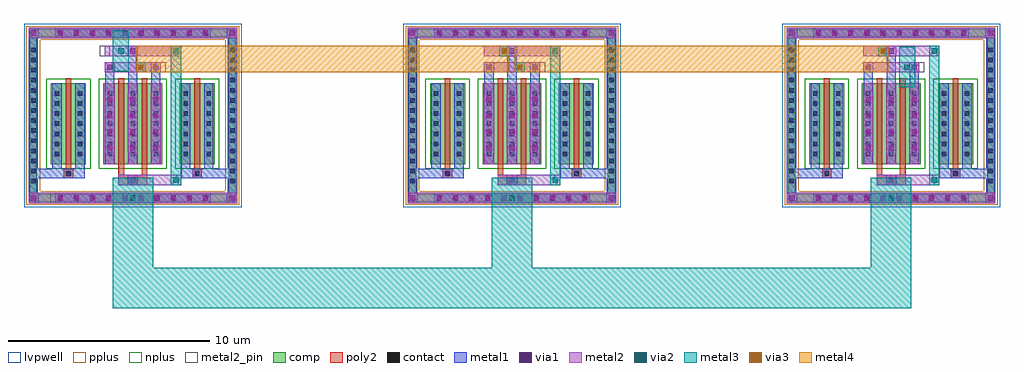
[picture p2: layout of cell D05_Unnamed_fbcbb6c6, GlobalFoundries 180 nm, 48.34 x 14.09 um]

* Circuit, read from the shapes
.subckt D05_Unnamed_fbcbb6c6 VSS
XM1 VSS VSS VSS VSS nfet_03v3 w=4u l=0.28u m=6
XM2 D05_Unnamed_ca71196c_12/VRECT D05_Unnamed_ca71196c_12/VRECT D05_Unnamed_b1a1378a_13/N1 VSS nfet_03v3 w=4u l=0.28u m=2
XM3 D05_Unnamed_b1a1378a_13/N1 D05_Unnamed_b1a1378a_13/N1 D05_Unnamed_c9d8e9c4_14/N2 VSS nfet_03v3 w=4u l=0.28u m=2
XM4 D05_Unnamed_c9d8e9c4_14/N2 D05_Unnamed_c9d8e9c4_14/N2 D05_Unnamed_fbd77fd4_15/VOUT VSS nfet_03v3 w=4u l=0.28u m=2
.ends

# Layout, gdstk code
import gdstk
lib = gdstk.Library(unit=1e-6, precision=5e-09)
def R(c, l, rs):  # rectangles x0, y0, x1, y1
    for r in rs: c.add(gdstk.rectangle(r[:2], r[2:], *l))
def A(c, l, x, y, w, h, nx, ny, dx, dy):  # array of equal rectangles
    R(c, l, [(x+i*dx, y+j*dy, x+i*dx+w, y+j*dy+h) for i in range(nx) for j in range(ny)])
def P(c, l, *ps):  # polygons
    for p in ps: c.add(gdstk.Polygon(p, *l))
comp = (22, 0)
poly2 = (30, 0)
pplus = (31, 0)
nplus = (32, 0)
contact = (33, 0)
metal1 = (34, 0)
via1 = (35, 0)
metal2 = (36, 0)
metal2_pin = (36, 10)
via2 = (38, 0)
via3 = (40, 0)
metal3 = (42, 0)
metal4 = (46, 0)
lvpwell = (204, 0)

d05_unnamed_d11e9c6c = lib.new_cell('D05_Unnamed_d11e9c6c')
A(d05_unnamed_d11e9c6c, comp, -3.78, -4.265, 0.36, 0.36, 10, 2, 0.8, 8.17)
A(d05_unnamed_d11e9c6c, comp, -5.11, -3.43, 0.36, 0.36, 1, 14, 0, 0.5)
A(d05_unnamed_d11e9c6c, comp, 4.75, -3.43, 0.36, 0.36, 1, 14, 0, 0.5)
R(d05_unnamed_d11e9c6c, comp, [(-3.78,-4.265,3.78,-3.905), (-5.11,-3.43,-4.75,3.43), (4.75,-3.43,5.11,3.43), (-4.06,-2.405,-2.32,1.595), (-1.46,-2.405,1.46,1.595), (2.32,-2.405,4.06,1.595), (-3.78,3.905,3.78,4.265)])
P(d05_unnamed_d11e9c6c, comp, [(-5.11,-4.265),(-5.11,-3.905),(-4.75,-3.905),(4.75,-3.905),(4.75,3.905),(-4.75,3.905),(-4.75,-3.905),(-5.11,-3.905),(-5.11,4.265),(5.11,4.265),(5.11,-4.265)])
R(d05_unnamed_d11e9c6c, poly2, [(-0.71,-3.445,0.71,-2.945), (-0.18,-3.375,0.18,-3.015), (-3.42,-3.105,-2.96,-2.645), (2.96,-3.105,3.42,-2.645), (-3.37,-3.055,-3.01,-2.695), (3.01,-3.055,3.37,-2.695), (-0.71,-2.945,-0.43,-2.645), (0.43,-2.945,0.71,-2.645), (-3.33,-2.645,-3.05,1.835), (-0.71,-2.645,-0.43,1.835), (0.43,-2.645,0.71,1.835), (3.05,-2.645,3.33,1.835)])
P(d05_unnamed_d11e9c6c, pplus, [(-5.27,-4.425),(-5.27,-3.745),(-4.59,-3.745),(4.59,-3.745),(4.59,3.745),(-4.59,3.745),(-4.59,-3.745),(-5.27,-3.745),(-5.27,4.425),(5.27,4.425),(5.27,-4.425)])
R(d05_unnamed_d11e9c6c, nplus, [(-4.29,-2.635,-2.09,1.825), (-1.69,-2.635,1.69,1.825), (2.09,-2.635,4.29,1.825)])
A(d05_unnamed_d11e9c6c, contact, -3.71, -4.195, 0.22, 0.22, 10, 2, 0.8, 8.17)
A(d05_unnamed_d11e9c6c, contact, -5.04, -3.36, 0.22, 0.22, 1, 14, 0, 0.5)
A(d05_unnamed_d11e9c6c, contact, 4.82, -3.36, 0.22, 0.22, 1, 14, 0, 0.5)
A(d05_unnamed_d11e9c6c, contact, -3.87, -2.015, 0.22, 0.22, 1, 7, 0, 0.5)
A(d05_unnamed_d11e9c6c, contact, -2.73, -2.015, 0.22, 0.22, 1, 7, 0, 0.5)
A(d05_unnamed_d11e9c6c, contact, -1.25, -2.015, 0.22, 0.22, 3, 7, 1.14, 0.5)
A(d05_unnamed_d11e9c6c, contact, 2.51, -2.015, 0.22, 0.22, 1, 7, 0, 0.5)
A(d05_unnamed_d11e9c6c, contact, 3.65, -2.015, 0.22, 0.22, 1, 7, 0, 0.5)
R(d05_unnamed_d11e9c6c, contact, [(-0.11,-3.305,0.11,-3.085), (-3.3,-2.985,-3.08,-2.765), (3.08,-2.985,3.3,-2.765)])
A(d05_unnamed_d11e9c6c, metal1, -3.85, -4.335, 0.5, 0.5, 10, 2, 0.8, 8.17)
A(d05_unnamed_d11e9c6c, metal1, -5.16, -3.48, 0.46, 0.46, 1, 14, 0, 0.5)
A(d05_unnamed_d11e9c6c, metal1, 4.7, -3.48, 0.46, 0.46, 1, 14, 0, 0.5)
A(d05_unnamed_d11e9c6c, metal1, -1.37, -2.405, 0.46, 4, 3, 1, 1.14, 0)
A(d05_unnamed_d11e9c6c, metal1, -3.99, -2.135, 0.46, 0.46, 1, 7, 0, 0.5)
A(d05_unnamed_d11e9c6c, metal1, -2.85, -2.135, 0.46, 0.46, 1, 7, 0, 0.5)
A(d05_unnamed_d11e9c6c, metal1, -1.37, -2.135, 0.46, 0.46, 3, 7, 1.14, 0.5)
A(d05_unnamed_d11e9c6c, metal1, 2.39, -2.135, 0.46, 0.46, 1, 7, 0, 0.5)
A(d05_unnamed_d11e9c6c, metal1, 3.53, -2.135, 0.46, 0.46, 1, 7, 0, 0.5)
A(d05_unnamed_d11e9c6c, metal1, -1.39, -1.855, 0.5, 0.5, 3, 4, 1.14, 0.8)
A(d05_unnamed_d11e9c6c, metal1, -1.39, -1.855, 0.5, 2.9, 3, 1, 1.14, 0)
R(d05_unnamed_d11e9c6c, metal1, [(-5.16,-4.335,-4.66,-3.835), (-5.16,-4.335,-4.66,-3.835), (-5.16,-4.335,-4.7,-3.905), (-3.85,-4.335,3.85,-3.835), (4.66,-4.335,5.16,-3.835), (4.66,-4.335,5.16,-3.835), (4.7,-4.335,5.16,-3.905), (-5.16,-3.905,-4.7,3.905), (4.7,-3.905,5.16,3.905), (-0.25,-3.445,0.25,-2.945), (-5.16,-3.105,-3.42,-2.645), (-3.99,-3.105,-3.53,-2.405), (-3.99,-3.105,-3.42,-2.645), (-3.42,-3.105,-2.96,-2.645), (-2.96,-3.105,-2.39,-2.645), (-2.85,-3.105,-2.39,-2.405), (2.39,-3.105,2.85,-2.405), (2.39,-3.105,2.96,-2.645), (2.96,-3.105,3.42,-2.645), (2.96,-3.105,5.16,-2.645), (3.42,-3.105,3.99,-2.645), (3.53,-3.105,3.99,-2.405), (-3.99,-2.405,-3.53,1.595), (-2.85,-2.405,-2.39,1.595), (2.39,-2.405,2.85,1.595), (3.53,-2.405,3.99,1.595), (-1.37,1.595,-0.91,2.645), (-0.23,1.595,0.23,3.445), (0.91,1.595,1.37,2.645), (-1.39,2.145,-0.89,2.645), (0.89,2.145,1.39,2.645), (-0.25,2.945,0.25,3.445), (-5.16,3.835,-4.66,4.335), (-5.16,3.835,-4.66,4.335), (-3.85,3.835,3.85,4.335), (4.66,3.835,5.16,4.335), (4.66,3.835,5.16,4.335), (-5.16,3.905,-4.7,4.335), (4.7,3.905,5.16,4.335)])
A(d05_unnamed_d11e9c6c, via1, -3.73, -4.215, 0.26, 0.26, 10, 2, 0.8, 8.17)
A(d05_unnamed_d11e9c6c, via1, -1.27, -1.735, 0.26, 0.26, 3, 4, 1.14, 0.8)
R(d05_unnamed_d11e9c6c, via1, [(-5.04,-4.215,-4.78,-3.955), (4.78,-4.215,5.04,-3.955), (-0.13,-3.325,0.13,-3.065), (-1.27,2.265,-1.01,2.525), (1.01,2.265,1.27,2.525), (-0.13,3.065,0.13,3.325), (-5.04,3.955,-4.78,4.215), (4.78,3.955,5.04,4.215)])
A(d05_unnamed_d11e9c6c, metal2, -3.85, -4.335, 0.5, 0.5, 10, 2, 0.8, 8.17)
A(d05_unnamed_d11e9c6c, metal2, -1.39, -2.405, 0.5, 4, 3, 1, 1.14, 0)
A(d05_unnamed_d11e9c6c, metal2, -1.39, -1.855, 0.5, 0.5, 3, 4, 1.14, 0.8)
R(d05_unnamed_d11e9c6c, metal2, [(-5.16,-4.335,-4.66,-3.835), (-5.16,-4.335,-4.66,-3.835), (-5.16,-4.335,-4.75,-3.835), (-4.75,-4.335,4.75,-3.835), (4.66,-4.335,5.16,-3.835), (4.66,-4.335,5.16,-3.835), (4.75,-4.335,5.16,-3.835), (-0.71,-3.445,0.71,-2.945), (-0.25,-3.445,0.25,-2.945), (-1.39,2.145,-0.89,2.645), (-1.39,2.145,1.39,2.645), (0.89,2.145,1.39,2.645), (-1.39,2.945,1.39,3.445), (-0.25,2.945,0.25,3.445), (-5.16,3.835,-4.66,4.335), (-5.16,3.835,-4.66,4.335), (-5.16,3.835,-4.75,4.335), (-4.75,3.835,4.75,4.335), (4.66,3.835,5.16,4.335), (4.66,3.835,5.16,4.335), (4.75,3.835,5.16,4.335)])
R(d05_unnamed_d11e9c6c, lvpwell, [(-5.39,-4.545,5.39,4.545)])

d05_c_route_8140c5f0_1 = lib.new_cell('D05_c_route_8140c5f0_1')
R(d05_c_route_8140c5f0_1, metal2, [(0.71,-3.445,2.39,-2.945), (1.89,-3.445,2.39,-2.945), (1.39,2.945,2.39,3.445), (1.89,2.945,2.39,3.445)])
R(d05_c_route_8140c5f0_1, via2, [(2.01,-3.325,2.27,-3.065), (2.01,3.065,2.27,3.325)])
R(d05_c_route_8140c5f0_1, metal3, [(1.89,-3.445,2.39,-2.945), (1.89,-3.445,2.39,-2.945), (1.89,-3.445,2.39,3.445), (1.89,2.945,2.39,3.445), (1.89,2.945,2.39,3.445)])
P(d05_c_route_8140c5f0_1, metal3, [(2.39,-3.445),(2.39,-2.945),(2.39,-2.945),(2.39,-3.445)],
  [(2.39,2.945),(2.39,3.445),(2.39,3.445),(2.39,2.945)])

d05_unnamed_cb62c56e = lib.new_cell('D05_Unnamed_cb62c56e')
d05_unnamed_cb62c56e.add(gdstk.Reference(d05_unnamed_d11e9c6c, (0,0)))
d05_unnamed_cb62c56e.add(gdstk.Reference(d05_c_route_8140c5f0_1, (0,0)))

d05_via_stack_256ad2e2_9 = lib.new_cell('D05_via_stack_256ad2e2_9')
R(d05_via_stack_256ad2e2_9, metal2, [(-0.25,-0.25,0.25,0.25)])
R(d05_via_stack_256ad2e2_9, via2, [(-0.13,-0.13,0.13,0.13)])
R(d05_via_stack_256ad2e2_9, via3, [(-0.13,-0.13,0.13,0.13)])
R(d05_via_stack_256ad2e2_9, metal3, [(-0.25,-0.25,0.25,0.25)])
R(d05_via_stack_256ad2e2_9, metal4, [(-0.25,-0.25,0.25,0.25)])

d05_via_stack_256ad2e2_1 = lib.new_cell('D05_via_stack_256ad2e2_10')
R(d05_via_stack_256ad2e2_1, metal2, [(-0.25,-0.25,0.25,0.25)])
R(d05_via_stack_256ad2e2_1, via2, [(-0.13,-0.13,0.13,0.13)])
R(d05_via_stack_256ad2e2_1, via3, [(-0.13,-0.13,0.13,0.13)])
R(d05_via_stack_256ad2e2_1, metal3, [(-0.25,-0.25,0.25,0.25)])
R(d05_via_stack_256ad2e2_1, metal4, [(-0.25,-0.25,0.25,0.25)])

c_d05_via_stack_256ad2e2_1 = lib.new_cell('D05_via_stack_256ad2e2_11')
R(c_d05_via_stack_256ad2e2_1, metal2, [(-0.25,-0.25,0.25,0.25)])
R(c_d05_via_stack_256ad2e2_1, via2, [(-0.13,-0.13,0.13,0.13)])
R(c_d05_via_stack_256ad2e2_1, via3, [(-0.13,-0.13,0.13,0.13)])
R(c_d05_via_stack_256ad2e2_1, metal3, [(-0.25,-0.25,0.25,0.25)])
R(c_d05_via_stack_256ad2e2_1, metal4, [(-0.25,-0.25,0.25,0.25)])

c_d05_via_stack_256ad2e2_1_ = lib.new_cell('D05_via_stack_256ad2e2_12')
R(c_d05_via_stack_256ad2e2_1_, metal2, [(-0.25,-0.25,0.25,0.25)])
R(c_d05_via_stack_256ad2e2_1_, via2, [(-0.13,-0.13,0.13,0.13)])
R(c_d05_via_stack_256ad2e2_1_, via3, [(-0.13,-0.13,0.13,0.13)])
R(c_d05_via_stack_256ad2e2_1_, metal3, [(-0.25,-0.25,0.25,0.25)])
R(c_d05_via_stack_256ad2e2_1_, metal4, [(-0.25,-0.25,0.25,0.25)])

d05_via_stack_c2d496bb_6 = lib.new_cell('D05_via_stack_c2d496bb_64')
R(d05_via_stack_c2d496bb_6, metal2, [(-0.25,-0.25,0.25,0.25)])
R(d05_via_stack_c2d496bb_6, via2, [(-0.13,-0.13,0.13,0.13)])
R(d05_via_stack_c2d496bb_6, metal3, [(-0.25,-0.25,0.25,0.25)])

c_d05_via_stack_c2d496bb_6 = lib.new_cell('D05_via_stack_c2d496bb_65')
R(c_d05_via_stack_c2d496bb_6, metal2, [(-0.25,-0.25,0.25,0.25)])
R(c_d05_via_stack_c2d496bb_6, via2, [(-0.13,-0.13,0.13,0.13)])
R(c_d05_via_stack_c2d496bb_6, metal3, [(-0.25,-0.25,0.25,0.25)])

c_d05_via_stack_c2d496bb_6_ = lib.new_cell('D05_via_stack_c2d496bb_66')
R(c_d05_via_stack_c2d496bb_6_, metal2, [(-0.25,-0.25,0.25,0.25)])
R(c_d05_via_stack_c2d496bb_6_, via2, [(-0.13,-0.13,0.13,0.13)])
R(c_d05_via_stack_c2d496bb_6_, metal3, [(-0.25,-0.25,0.25,0.25)])

c_d05_via_stack_c2d496bb_6__ = lib.new_cell('D05_via_stack_c2d496bb_67')
R(c_d05_via_stack_c2d496bb_6__, metal2, [(-0.25,-0.25,0.25,0.25)])
R(c_d05_via_stack_c2d496bb_6__, via2, [(-0.13,-0.13,0.13,0.13)])
R(c_d05_via_stack_c2d496bb_6__, metal3, [(-0.25,-0.25,0.25,0.25)])

c_d05_via_stack_c2d496bb_6___ = lib.new_cell('D05_via_stack_c2d496bb_68')
R(c_d05_via_stack_c2d496bb_6___, metal2, [(-0.25,-0.25,0.25,0.25)])
R(c_d05_via_stack_c2d496bb_6___, via2, [(-0.13,-0.13,0.13,0.13)])
R(c_d05_via_stack_c2d496bb_6___, metal3, [(-0.25,-0.25,0.25,0.25)])

d05_compass_df8d0505_7 = lib.new_cell('D05_compass_df8d0505_7')
R(d05_compass_df8d0505_7, metal2_pin, [(-0.25,-0.25,0.25,0.25)])

d05_unnamed_ca71196c = lib.new_cell('D05_Unnamed_ca71196c')
d05_unnamed_ca71196c.add(gdstk.Reference(d05_compass_df8d0505_7, (0,0)))
d05_unnamed_ca71196c.add(gdstk.Label('VRECT', (0,0), layer=36, texttype=10))

d05_compass_df8d0505_8 = lib.new_cell('D05_compass_df8d0505_8')
R(d05_compass_df8d0505_8, metal2_pin, [(-0.25,-0.25,0.25,0.25)])

d05_unnamed_b1a1378a = lib.new_cell('D05_Unnamed_b1a1378a')
d05_unnamed_b1a1378a.add(gdstk.Reference(d05_compass_df8d0505_8, (0,0)))
d05_unnamed_b1a1378a.add(gdstk.Label('N1', (0,0), layer=36, texttype=10))

d05_compass_df8d0505_9 = lib.new_cell('D05_compass_df8d0505_9')
R(d05_compass_df8d0505_9, metal2_pin, [(-0.25,-0.25,0.25,0.25)])

d05_unnamed_c9d8e9c4 = lib.new_cell('D05_Unnamed_c9d8e9c4')
d05_unnamed_c9d8e9c4.add(gdstk.Reference(d05_compass_df8d0505_9, (0,0)))
d05_unnamed_c9d8e9c4.add(gdstk.Label('N2', (0,0), layer=36, texttype=10))

d05_compass_df8d0505_10 = lib.new_cell('D05_compass_df8d0505_10')
R(d05_compass_df8d0505_10, metal2_pin, [(-0.25,-0.25,0.25,0.25)])

d05_unnamed_fbd77fd4 = lib.new_cell('D05_Unnamed_fbd77fd4')
d05_unnamed_fbd77fd4.add(gdstk.Reference(d05_compass_df8d0505_10, (0,0)))
d05_unnamed_fbd77fd4.add(gdstk.Label('VOUT', (0,0), layer=36, texttype=10))

d05_compass_df8d0505_11 = lib.new_cell('D05_compass_df8d0505_11')
R(d05_compass_df8d0505_11, metal2_pin, [(-0.25,-0.25,0.25,0.25)])

d05_unnamed_97defd3e = lib.new_cell('D05_Unnamed_97defd3e')
d05_unnamed_97defd3e.add(gdstk.Reference(d05_compass_df8d0505_11, (0,0)))
d05_unnamed_97defd3e.add(gdstk.Label('VSS', (0,0), layer=36, texttype=10))

d05_unnamed_fbcbb6c6 = lib.new_cell('D05_Unnamed_fbcbb6c6')
A(d05_unnamed_fbcbb6c6, metal3, -1, -9.545, 2, 6.46, 3, 1, 18.78, 0)
R(d05_unnamed_fbcbb6c6, metal3, [(-1,-9.545,38.56,-7.545), (37.95,1.395,38.75,3.395), (-0.99,2.195,-0.19,4.195)])
R(d05_unnamed_fbcbb6c6, metal4, [(0.14,2.145,18.64,3.445), (18.92,2.145,37.42,3.445)])
d05_unnamed_fbcbb6c6.add(gdstk.Reference(d05_unnamed_cb62c56e, (0,0)))
d05_unnamed_fbcbb6c6.add(gdstk.Reference(d05_unnamed_cb62c56e, (18.78,0)))
d05_unnamed_fbcbb6c6.add(gdstk.Reference(d05_unnamed_cb62c56e, (37.56,0)))
d05_unnamed_fbcbb6c6.add(gdstk.Reference(d05_via_stack_256ad2e2_9, (0.39,2.395)))
d05_unnamed_fbcbb6c6.add(gdstk.Reference(d05_via_stack_256ad2e2_1, (18.39,3.195)))
d05_unnamed_fbcbb6c6.add(gdstk.Reference(c_d05_via_stack_256ad2e2_1, (19.17,2.395)))
d05_unnamed_fbcbb6c6.add(gdstk.Reference(c_d05_via_stack_256ad2e2_1_, (37.17,3.195)))
d05_unnamed_fbcbb6c6.add(gdstk.Reference(d05_via_stack_c2d496bb_6, (0,-4.085)))
d05_unnamed_fbcbb6c6.add(gdstk.Reference(c_d05_via_stack_c2d496bb_6, (18.78,-4.085)))
d05_unnamed_fbcbb6c6.add(gdstk.Reference(c_d05_via_stack_c2d496bb_6_, (37.56,-4.085)))
d05_unnamed_fbcbb6c6.add(gdstk.Reference(c_d05_via_stack_c2d496bb_6__, (-0.59,3.195)))
d05_unnamed_fbcbb6c6.add(gdstk.Reference(c_d05_via_stack_c2d496bb_6___, (38.35,2.395)))
d05_unnamed_fbcbb6c6.add(gdstk.Reference(d05_unnamed_ca71196c, (-1.39,3.195)))
d05_unnamed_fbcbb6c6.add(gdstk.Reference(d05_unnamed_b1a1378a, (1.39,2.395)))
d05_unnamed_fbcbb6c6.add(gdstk.Reference(d05_unnamed_c9d8e9c4, (20.17,2.395)))
d05_unnamed_fbcbb6c6.add(gdstk.Reference(d05_unnamed_fbd77fd4, (38.95,2.395)))
d05_unnamed_fbcbb6c6.add(gdstk.Reference(d05_unnamed_97defd3e, (-3.85,-4.085)))

lib.write_gds('D05_Unnamed_fbcbb6c6.gds')
